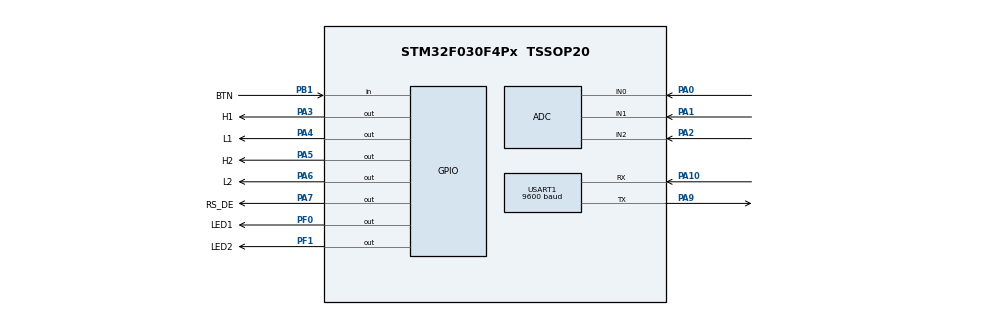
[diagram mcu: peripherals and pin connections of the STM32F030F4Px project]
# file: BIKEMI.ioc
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ADC.ContinuousConvMode=ENABLE
ADC.DiscontinuousConvMode=DISABLE
ADC.EOCSelection=ADC_EOC_SEQ_CONV
ADC.SamplingTime=ADC_SAMPLETIME_13CYCLES_5
IWDG.Prescaler=IWDG_PRESCALER_32
Mcu.Family=STM32F0
Mcu.Name=STM32F030F4Px
Mcu.Package=TSSOP20
NVIC.TIM14_IRQn=true\:0\:0\:true\:false\:true\:true\:true\:true
NVIC.TIM16_IRQn=true\:1\:0\:true\:false\:true\:true\:true\:true
NVIC.TIM17_IRQn=true\:1\:0\:true\:false\:true\:true\:true\:true
NVIC.TIM3_IRQn=true\:0\:0\:false\:false\:true\:true\:true\:true
NVIC.USART1_IRQn=true\:0\:0\:false\:false\:true\:true\:true\:true
PA0.Mode=IN0
PA0.Signal=ADC_IN0
PA1.Mode=IN1
PA1.Signal=ADC_IN1
PA10.Mode=Asynchronous
PA10.Signal=USART1_RX
PA13.Mode=Serial_Wire
PA13.Signal=SYS_SWDIO
PA14.Mode=Serial_Wire
PA14.Signal=SYS_SWCLK
PA2.Mode=IN2
PA2.Signal=ADC_IN2
PA3.GPIO_Label=H1
PA3.GPIO_Speed=GPIO_SPEED_FREQ_HIGH
PA3.Signal=GPIO_Output
PA4.GPIO_Label=L1
PA4.GPIO_Speed=GPIO_SPEED_FREQ_HIGH
PA4.Signal=GPIO_Output
PA5.GPIO_Label=H2
PA5.GPIO_Speed=GPIO_SPEED_FREQ_HIGH
PA5.Signal=GPIO_Output
PA6.GPIO_Label=L2
PA6.GPIO_Speed=GPIO_SPEED_FREQ_HIGH
PA6.Signal=GPIO_Output
PA7.GPIO_Label=RS_DE
PA7.GPIO_Speed=GPIO_SPEED_FREQ_HIGH
PA7.Signal=GPIO_Output
PA9.Mode=Asynchronous
PA9.Signal=USART1_TX
PB1.GPIO_Label=BTN
PB1.Signal=GPIO_Input
PF0-OSC_IN.GPIO_Label=LED1
PF0-OSC_IN.GPIO_Speed=GPIO_SPEED_FREQ_HIGH
PF0-OSC_IN.Signal=GPIO_Output
PF1-OSC_OUT.GPIO_Label=LED2
PF1-OSC_OUT.GPIO_Speed=GPIO_SPEED_FREQ_HIGH
PF1-OSC_OUT.PinState=GPIO_PIN_RESET
PF1-OSC_OUT.Signal=GPIO_Output
ProjectManager.HeapSize=0x200
ProjectManager.StackSize=0x400
ProjectManager.TargetToolchain=MDK-ARM V5.32
RCC.AHBFreq_Value=48000000
RCC.APB1Freq_Value=48000000
RCC.APB1TimFreq_Value=48000000
RCC.HCLKFreq_Value=48000000
RCC.PLLMUL=RCC_PLL_MUL12
RCC.SYSCLKFreq_VALUE=48000000
RCC.SYSCLKSource=RCC_SYSCLKSOURCE_PLLCLK
TIM14.Period=100
TIM14.Prescaler=480
TIM16.Period=1000
TIM16.Prescaler=24000
TIM17.Period=1000
TIM17.Prescaler=47
TIM3.Period=500
TIM3.Prescaler=24000
USART1.BaudRate=9600
USART1.Parity=PARITY_EVEN
USART1.VirtualMode-Asynchronous=VM_ASYNC
USART1.WordLength=WORDLENGTH_9B
VP_IWDG_VS_IWDG.Mode=IWDG_Activate
VP_TIM14_VS_ClockSourceINT.Mode=Enable_Timer
VP_TIM16_VS_ClockSourceINT.Mode=Enable_Timer
VP_TIM17_VS_ClockSourceINT.Mode=Enable_Timer
VP_TIM3_VS_ClockSourceINT.Mode=Internal
board=custom

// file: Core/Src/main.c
/* USER CODE BEGIN Header */
/**
  ******************************************************************************
  * @file           : main.c
  * @brief          : Main program body
  ******************************************************************************
  * @attention
  *
  * Copyright (c) 2022 STMicroelectronics.
  * All rights reserved.
  *
  * This software is licensed under terms that can be found in the LICENSE file
  * in the root directory of this software component.
  * If no LICENSE file comes with this software, it is provided AS-IS.
  *
  ******************************************************************************
  */
/* USER CODE END Header */
#include "main.h"
#include "adc.h"
#include "iwdg.h"
#include "tim.h"
#include "usart.h"
#include "gpio.h"

/* USER CODE BEGIN Includes */
#include "modbus.h"
#include "settings.h"
/* USER CODE END Includes */

/* USER CODE BEGIN PTD */

extern Settings_struct_type Settings_struct;
coil_state_t_m current_coil_state=0;
coil_state_t_m previous_coil_state=0;
extern work_mode_t_m current_work_mode;
extern work_mode_t_m previous_work_mode;
extern control_source_t_m current_control_source;
extern control_source_t_m previous_control_source;

/* USER CODE END PTD */

/* USER CODE BEGIN PV */
extern uint8_t reset_flag;
uint16_t ADC_data[CONVERT_COUNT_MAX];
uint16_t Vin_voltage=0;
uint16_t Vcoil_voltage=0;
uint16_t Icoil_current=0;
uint8_t btsp_flag=0;
uint8_t cmt_flag=0;
uint8_t busy_flag=0;
uint32_t vt_on_msec=0;
uint8_t cant_change_flag=1;
extern unsigned char Own_ID;
extern unsigned short AO_Registers[];
extern unsigned short DI_Registers[];

/* USER CODE END PV */

void SystemClock_Config(void);

int main(void)
{

  /* MCU Configuration--------------------------------------------------------*/

  /* Reset of all peripherals, Initializes the Flash interface and the Systick. */
  HAL_Init();

  /* Configure the system clock */
  SystemClock_Config();

  /* USER CODE BEGIN SysInit */
	CheckSettingsInFLASH(Settings_struct);
	if(Settings_struct.control_source != BUTTON_CONTROL)
	{
		current_coil_state=COIL_CLOSE;
		AO_Registers[INDEX_COIL_STATE]=COIL_CLOSE;
		AO_Registers[INDEX_CONTROL_SOURCE]=Settings_struct.control_source;

	}
	SetDelay(Settings_struct.BaudRate);
	Own_ID=Settings_struct.OwnId;
	LL_ADC_StartCalibration(ADC1);
	while	 (LL_ADC_IsCalibrationOnGoing(ADC1) != 0) {}
  /* USER CODE END SysInit */

  /* Initialize all configured peripherals */
  MX_GPIO_Init();
  MX_ADC_Init();
  MX_IWDG_Init();
  MX_USART1_UART_Init();
  MX_TIM14_Init();
  MX_TIM16_Init();
  MX_TIM17_Init();
  MX_TIM3_Init();
  /* USER CODE BEGIN 2 */
	LL_USART_EnableIT_RXNE(USART1);

	LL_TIM_EnableCounter(TIM14);
	Own_ID = Settings_struct.OwnId;
	LL_ADC_Enable(ADC1);
	LL_TIM_EnableIT_UPDATE(TIM14);
	LL_TIM_EnableIT_UPDATE(TIM16);
	LL_TIM_EnableIT_UPDATE(TIM3);
	LL_TIM_EnableIT_UPDATE(TIM17);
	ChargeBootstrap();
	AO_Registers[INDEX_SERIAL_NUM] = Settings_struct.SerialNumber;
	AO_Registers[INDEX_DEVICE_CODE] = DEVICE_CODE;
	LED1_ON;
	USART1->CR1 &= ~USART_CR1_TCIE;
	USART1->CR1 &= ~USART_CR1_TXEIE;
  /* USER CODE END 2 */

  /* Infinite loop */
  /* USER CODE BEGIN WHILE */
  while (1)
  {
		BtnRead();
		AO_Read();
		BothControlLoop();
		IWDG_Reset();
		ModbusTaskLoop();
		adcSensLoop();
		CurrControl();
		CoilControl();
		VoltageControl();
		FillMbRegs();
		if (reset_flag) {while(1){}}

    /* USER CODE END WHILE */

  }
}

void SystemClock_Config(void)
{
  LL_FLASH_SetLatency(LL_FLASH_LATENCY_1);
  while(LL_FLASH_GetLatency() != LL_FLASH_LATENCY_1)
  {
  }
  LL_RCC_HSI_Enable();

   /* Wait till HSI is ready */
  while(LL_RCC_HSI_IsReady() != 1)
  {

  }
  LL_RCC_HSI_SetCalibTrimming(16);
  LL_RCC_HSI14_Enable();

   /* Wait till HSI14 is ready */
  while(LL_RCC_HSI14_IsReady() != 1)
  {

  }
  LL_RCC_HSI14_SetCalibTrimming(16);
  LL_RCC_LSI_Enable();

   /* Wait till LSI is ready */
  while(LL_RCC_LSI_IsReady() != 1)
  {

  }
  LL_RCC_PLL_ConfigDomain_SYS(LL_RCC_PLLSOURCE_HSI_DIV_2, LL_RCC_PLL_MUL_12);
  LL_RCC_PLL_Enable();

   /* Wait till PLL is ready */
  while(LL_RCC_PLL_IsReady() != 1)
  {

  }
  LL_RCC_SetAHBPrescaler(LL_RCC_SYSCLK_DIV_1);
  LL_RCC_SetAPB1Prescaler(LL_RCC_APB1_DIV_1);
  LL_RCC_SetSysClkSource(LL_RCC_SYS_CLKSOURCE_PLL);

   /* Wait till System clock is ready */
  while(LL_RCC_GetSysClkSource() != LL_RCC_SYS_CLKSOURCE_STATUS_PLL)
  {

  }
  LL_SetSystemCoreClock(48000000);

   /* Update the time base */
  if (HAL_InitTick (TICK_INT_PRIORITY) != HAL_OK)
  {
    Error_Handler();
  }
  LL_RCC_HSI14_EnableADCControl();
  LL_RCC_SetUSARTClockSource(LL_RCC_USART1_CLKSOURCE_PCLK1);
}

/* USER CODE BEGIN 4 */
void IWDG_Reset(void)
{
	IWDG->KR = 0x0000AAAA;
}

void adcSensLoop(void)
{
	uint16_t tmp=0;
	ADC1->CHSELR = 1; //выбрал канал ацп 0
	AdcConvert(ADC_data);
	tmp=AdcAverage(ADC_data);
	Icoil_current=A1_KOEF_SENS*Settings_struct.a1_koef_calibrate*tmp+B1_KOEF_SENS+Settings_struct.b1_koef_calibrate;
	ADC1->CHSELR = 2; //выбрал канал ацп 1
	AdcConvert(ADC_data);
	tmp=AdcAverage(ADC_data);
	Vin_voltage=A2_KOEF_SENS*Settings_struct.a2_koef_calibrate*tmp+B2_KOEF_SENS+Settings_struct.b2_koef_calibrate;
	ADC1->CHSELR = 4; //выбрал канал ацп 2
	AdcConvert(ADC_data);
	tmp=AdcAverage(ADC_data);
	Vcoil_voltage=A3_KOEF_SENS*Settings_struct.a3_koef_calibrate*tmp+B3_KOEF_SENS+Settings_struct.b3_koef_calibrate;

	LL_ADC_ClearFlag_EOC(ADC1);
	LL_ADC_ClearFlag_EOS(ADC1);
}

void AdcConvert(uint16_t* data)
{
	uint16_t k;
	k=0;
	uint16_t tmp=0;
	tmp = Settings_struct.pass_convert_count+Settings_struct.convert_count;
	while((ADC1->ISR & ADC_ISR_ADRDY)==0){}
	while(k<tmp)
	{
		LL_ADC_REG_StartConversion(ADC1); 	//старт ацп
		while (!LL_ADC_IsActiveFlag_EOC(ADC1))  {} //ждем окончания преобразования
		if(k>=Settings_struct.pass_convert_count) {data[k-Settings_struct.pass_convert_count]=LL_ADC_REG_ReadConversionData12(ADC1);} //чтение полученного измерения
		else{LL_ADC_REG_ReadConversionData12(ADC1);}
		k++;
		//LL_ADC_REG_StopConversion(ADC1);

	}
	//k=0;
}

uint16_t AdcAverage(uint16_t* data)
{
	uint16_t ret_val=0;
	for(uint16_t j=0; j<Settings_struct.convert_count; j++)
	{
		ret_val+=data[j];
	}
	return ret_val/Settings_struct.convert_count;
}

void CoilControl(void)
{
	if(cant_change_flag)
	{
		if (previous_coil_state==COIL_OPEN)
		{
			cmt_flag=1;
			ChargeBootstrap();
			LED2_OFF;
			current_coil_state=COIL_CLOSE;
		}
	return;
	}
	if(previous_coil_state!=current_coil_state)
	{
		switch(current_coil_state)
		{
			case COIL_NOT_DEFINE: VtAllOff(); break;
			case COIL_CLOSE: cmt_flag=1; ChargeBootstrap(); LED2_OFF; break;
			case COIL_OPEN: cmt_flag=1; ChargeBootstrap(); LED2_ON; break;
			default: VtAllOff(); break;
		}
		previous_coil_state=current_coil_state;
	}
}

void BtnRead(void)
{
	static uint8_t old_btn_state=1;
	static uint8_t new_btn_state=1;
	if(Settings_struct.control_source == BUTTON_CONTROL)
	{

		new_btn_state = (BTN_Pin & LL_GPIO_ReadInputPort(BTN_GPIO_Port));
		if (old_btn_state != new_btn_state)
		{
			if(new_btn_state) current_coil_state=COIL_CLOSE;
			else current_coil_state=COIL_OPEN;

		}
		old_btn_state=new_btn_state;
	}
	else
	{
		if(current_coil_state==COIL_OPEN) old_btn_state=0;
		else old_btn_state=1;
		return;
	}
}

void ChargeBootstrap(void)
{
	if (busy_flag) return;
	btsp_flag=1;
	busy_flag=1;
	L1_ON;
	L2_ON;
	//vt_on_msec=Settings_struct.bootstrap_charging_time;
	LL_TIM_EnableCounter(TIM17);
}

void FastBtspCharg(void)
{
	L1_ON;
	L2_ON;
	LL_mDelay(5);
	L1_OFF;
	L2_OFF;
	LL_mDelay(1);
}

void VtDirectPolarity(void)
{
	L2_ON;
	H1_ON;
}

void VtReversPolarity(void)
{
	L1_ON;
	H2_ON;
}

void VtAllOff(void)
{
	L1_OFF;
	L2_OFF;
	H1_OFF;
	H2_OFF;
}

void FillMbRegs(void)
{
	//Settings_struct.control_source = AO_Registers[INDEX_CONTROL_SOURCE];

	AO_Registers[INDEX_IN_VOLTAGE] = Vin_voltage;
	AO_Registers[INDEX_COIL_VOLTAGE] = Vcoil_voltage;
	if(BTN_Pin & LL_GPIO_ReadInputPort(BTN_GPIO_Port)) DI_Registers[0]=0;
	else DI_Registers[0]=1;
}

void VoltageControl(void)
{
	if(cant_change_flag)
	{
		AO_Registers[INDEX_COIL_STATE] = COIL_FAULT;
		if(LL_TIM_IsEnabledCounter(TIM3)){}
		else LL_TIM_EnableCounter(TIM3);
		if((Vin_voltage>=Settings_struct.in_volt_good) && (Vcoil_voltage>=Settings_struct.coil_volt_good))
		{
			cant_change_flag=0;
			AO_Registers[INDEX_COIL_STATE]=previous_coil_state;
		}
	}
	else
	{
		if((Vin_voltage<(Settings_struct.in_volt_good-Settings_struct.volt_treshold)) || (Vcoil_voltage<(Settings_struct.coil_volt_good-Settings_struct.volt_treshold)))
		{
			cant_change_flag=1;
		}
	}
}

void AO_Read(void)
{
	static uint8_t old_reg_state=0;
	static uint8_t new_reg_state=0;
	if((Settings_struct.control_source == BUTTON_CONTROL) && (!cant_change_flag)) AO_Registers[INDEX_COIL_STATE] = previous_coil_state;
	if(Settings_struct.control_source == MODBUS_CONTROL)
	{

		new_reg_state = AO_Registers[INDEX_COIL_STATE];
		if (old_reg_state != new_reg_state)
		{
			switch(new_reg_state)
			{
				case COIL_CLOSE: current_coil_state=COIL_CLOSE; break;
				case COIL_OPEN: current_coil_state=COIL_OPEN; break;
				default: break;
			}
		}
		old_reg_state=new_reg_state;
	}
	else
	{
		old_reg_state = current_coil_state;
		return;
	}
}

void BothControlLoop(void)
{
	static uint8_t previous__di_state=0;
  static uint8_t previous__ao_state=0;
	if(Settings_struct.control_source == BOTH_CONTROL)
	{
		if(previous__di_state != DI_Registers[0])
		{
			previous__di_state = DI_Registers[0];
			previous__ao_state = AO_Registers[INDEX_COIL_STATE];
			if(DI_Registers[0]==0) {current_coil_state=COIL_CLOSE; previous__di_state = 0; AO_Registers[INDEX_COIL_STATE] = COIL_CLOSE;}
			else {current_coil_state=COIL_OPEN; previous__di_state = 1; AO_Registers[INDEX_COIL_STATE] = COIL_OPEN;}
			}
		if(previous__ao_state != AO_Registers[INDEX_COIL_STATE])
		{
			previous__di_state = DI_Registers[0];
			previous__ao_state = AO_Registers[INDEX_COIL_STATE];
			if(AO_Registers[INDEX_COIL_STATE]==COIL_OPEN) {current_coil_state=COIL_OPEN;}
			else {current_coil_state=COIL_CLOSE;}
		}
	}
	else
	{
		return;
	}
}

void CurrControl(void)
{
	static uint16_t times=0;
	if((Icoil_current>=Settings_struct.curr_treshold)	&& (cant_change_flag))
	{
		times++;
		if(times>=Settings_struct.curr_def_times)
		{
			times=0;
			while(1){}
		}
	}
	else
	{
		if(times) times--;
	}
}
/* USER CODE END 4 */

void Error_Handler(void)
{
  __disable_irq();
  while (1)
  {
  }
}
